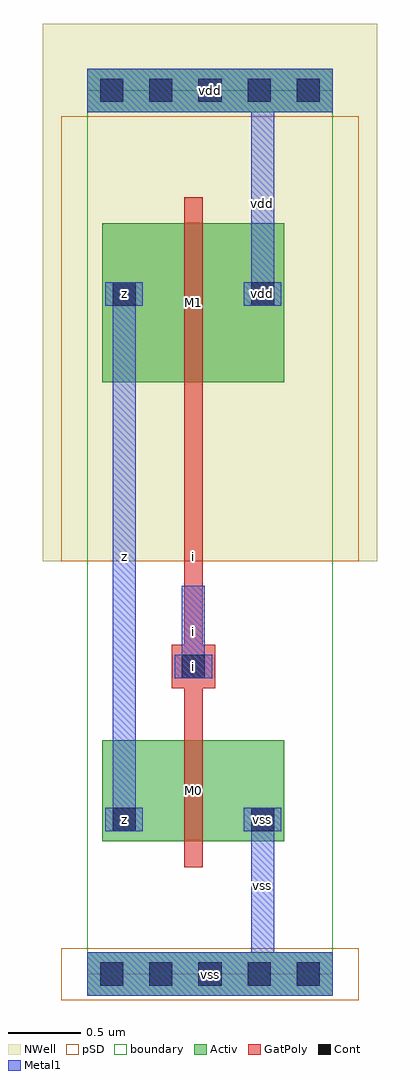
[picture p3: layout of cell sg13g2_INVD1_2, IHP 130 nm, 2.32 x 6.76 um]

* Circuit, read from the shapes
.subckt sg13g2_INVD1_2 i vdd vss z
XM1 vss i z vss sg13_lv_nmos w=0.7u l=0.13u
XM2 vdd i z vdd sg13_lv_pmos w=1.1u l=0.13u
.ends

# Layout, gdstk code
import gdstk
lib = gdstk.Library(unit=1e-6, precision=1e-09)
def R(c, l, rs):  # rectangles x0, y0, x1, y1
    for r in rs: c.add(gdstk.rectangle(r[:2], r[2:], *l))
def A(c, l, x, y, w, h, nx, ny, dx, dy):  # array of equal rectangles
    R(c, l, [(x+i*dx, y+j*dy, x+i*dx+w, y+j*dy+h) for i in range(nx) for j in range(ny)])
Activ = (1, 0)
GatPoly = (5, 0)
Cont = (6, 0)
Metal1 = (8, 0)
pSD = (14, 0)
NWell = (31, 0)
TEXT = (63, 0)
boundary = (189, 4)

sg13g2_invd1_2 = lib.new_cell('sg13g2_INVD1_2')
R(sg13g2_invd1_2, Activ, [(0,-0.15,1.7,0.15), (0.105,0.92,1.365,1.62), (0.105,0.92,0.405,1.22), (1.065,0.92,1.365,1.22), (0.105,4.1,1.365,5.2), (0.105,4.56,0.405,4.86), (1.065,4.56,1.365,4.86), (0,5.97,1.7,6.27)])
R(sg13g2_invd1_2, GatPoly, [(0.67,0.74,0.8,1.8), (0.67,1.005,0.8,4.775), (0.585,1.98,0.885,2.28), (0.67,3.92,0.8,5.38)])
A(sg13g2_invd1_2, Cont, 0.09, -0.08, 0.16, 0.16, 5, 2, 0.34, 6.12)
R(sg13g2_invd1_2, Cont, [(0.175,0.99,0.335,1.15), (1.135,0.99,1.295,1.15), (0.655,2.05,0.815,2.21), (0.175,4.63,0.335,4.79), (1.135,4.63,1.295,4.79)])
R(sg13g2_invd1_2, Metal1, [(0,-0.15,1.7,0.15), (1.135,0.07,1.295,1.15), (0.125,0.99,0.385,1.15), (0.175,0.99,0.335,4.79), (1.085,0.99,1.345,1.15), (0.605,2.05,0.865,2.21), (0.655,2.05,0.815,2.69), (0.125,4.63,0.385,4.79), (1.085,4.63,1.345,4.79), (1.135,4.63,1.295,6.05), (0,5.97,1.7,6.27)])
R(sg13g2_invd1_2, pSD, [(-0.18,-0.18,1.88,0.18), (-0.18,2.86,1.88,5.94)])
R(sg13g2_invd1_2, NWell, [(-0.31,2.86,2.01,6.58)])
R(sg13g2_invd1_2, boundary, [(0,0,1.7,6.12)])
sg13g2_invd1_2.add(gdstk.FlexPath([(0.105,0.41),(1.365,0.41)], 0, ends="flush", simple_path=True, layer=63, datatype=0))  # TEXT
sg13g2_invd1_2.add(gdstk.FlexPath([(0.105,1.07),(1.365,1.07)], 0, ends="flush", simple_path=True, layer=63, datatype=0))  # TEXT
sg13g2_invd1_2.add(gdstk.FlexPath([(0.105,1.47),(1.365,1.47)], 0, ends="flush", simple_path=True, layer=63, datatype=0))  # TEXT
sg13g2_invd1_2.add(gdstk.FlexPath([(0.105,2.13),(1.365,2.13)], 0, ends="flush", simple_path=True, layer=63, datatype=0))  # TEXT
sg13g2_invd1_2.add(gdstk.FlexPath([(0.105,2.61),(1.365,2.61)], 0, ends="flush", simple_path=True, layer=63, datatype=0))  # TEXT
sg13g2_invd1_2.add(gdstk.FlexPath([(0.105,3.09),(1.365,3.09)], 0, ends="flush", simple_path=True, layer=63, datatype=0))  # TEXT
sg13g2_invd1_2.add(gdstk.FlexPath([(0.105,3.57),(1.365,3.57)], 0, ends="flush", simple_path=True, layer=63, datatype=0))  # TEXT
sg13g2_invd1_2.add(gdstk.FlexPath([(0.105,4.25),(1.365,4.25)], 0, ends="flush", simple_path=True, layer=63, datatype=0))  # TEXT
sg13g2_invd1_2.add(gdstk.FlexPath([(0.105,4.71),(1.365,4.71)], 0, ends="flush", simple_path=True, layer=63, datatype=0))  # TEXT
sg13g2_invd1_2.add(gdstk.FlexPath([(0.105,5.05),(1.365,5.05)], 0, ends="flush", simple_path=True, layer=63, datatype=0))  # TEXT
sg13g2_invd1_2.add(gdstk.FlexPath([(0.105,5.71),(1.365,5.71)], 0, ends="flush", simple_path=True, layer=63, datatype=0))  # TEXT
sg13g2_invd1_2.add(gdstk.FlexPath([(0.255,0.07),(0.255,6.05)], 0, ends="flush", simple_path=True, layer=63, datatype=0))  # TEXT
sg13g2_invd1_2.add(gdstk.FlexPath([(0.735,0.07),(0.735,6.05)], 0, ends="flush", simple_path=True, layer=63, datatype=0))  # TEXT
sg13g2_invd1_2.add(gdstk.FlexPath([(1.215,0.07),(1.215,6.05)], 0, ends="flush", simple_path=True, layer=63, datatype=0))  # TEXT
sg13g2_invd1_2.add(gdstk.Label('z', (0.255,1.07), layer=6, texttype=0))
sg13g2_invd1_2.add(gdstk.Label('z', (0.255,4.71), layer=6, texttype=0))
sg13g2_invd1_2.add(gdstk.Label('i', (0.735,2.13), layer=6, texttype=0))
sg13g2_invd1_2.add(gdstk.Label('vss', (1.215,1.07), layer=6, texttype=0))
sg13g2_invd1_2.add(gdstk.Label('vdd', (1.215,4.71), layer=6, texttype=0))
sg13g2_invd1_2.add(gdstk.Label('vss', (1.215,1.07), layer=8, texttype=0))
sg13g2_invd1_2.add(gdstk.Label('vss', (1.215,0.61), layer=8, texttype=0))
sg13g2_invd1_2.add(gdstk.Label('vdd', (1.215,4.71), layer=8, texttype=0))
sg13g2_invd1_2.add(gdstk.Label('vdd', (1.215,5.34), layer=8, texttype=0))
sg13g2_invd1_2.add(gdstk.Label('z', (0.255,1.07), layer=8, texttype=25))
sg13g2_invd1_2.add(gdstk.Label('z', (0.255,4.71), layer=8, texttype=25))
sg13g2_invd1_2.add(gdstk.Label('z', (0.255,2.89), layer=8, texttype=25))
sg13g2_invd1_2.add(gdstk.Label('i', (0.735,2.13), layer=8, texttype=25))
sg13g2_invd1_2.add(gdstk.Label('i', (0.735,2.37), layer=8, texttype=25))
sg13g2_invd1_2.add(gdstk.Label('vss', (0.85,0), layer=8, texttype=25))
sg13g2_invd1_2.add(gdstk.Label('vdd', (0.85,6.12), layer=8, texttype=25))
sg13g2_invd1_2.add(gdstk.Label('M0', (0.735,1.27), layer=1, texttype=0))
sg13g2_invd1_2.add(gdstk.Label('M1', (0.735,4.65), layer=1, texttype=0))
sg13g2_invd1_2.add(gdstk.Label('z', (0.255,1.07), layer=1, texttype=0))
sg13g2_invd1_2.add(gdstk.Label('z', (0.255,4.71), layer=1, texttype=0))
sg13g2_invd1_2.add(gdstk.Label('vss', (1.215,1.07), layer=1, texttype=0))
sg13g2_invd1_2.add(gdstk.Label('vdd', (1.215,4.71), layer=1, texttype=0))
sg13g2_invd1_2.add(gdstk.Label('i', (0.735,2.89), layer=5, texttype=0))
sg13g2_invd1_2.add(gdstk.Label('i', (0.735,2.13), layer=5, texttype=0))

lib.write_gds('sg13g2_INVD1_2.gds')
